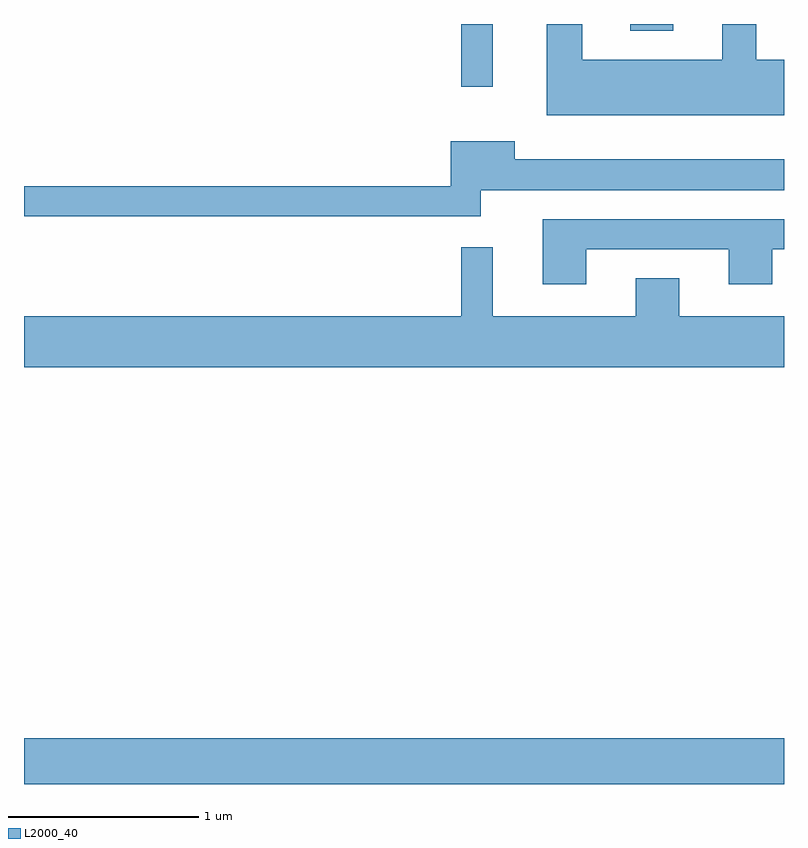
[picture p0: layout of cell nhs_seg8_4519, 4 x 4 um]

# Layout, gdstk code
import gdstk
lib = gdstk.Library(unit=1e-6, precision=1e-09)
def R(c, l, rs):  # rectangles x0, y0, x1, y1
    for r in rs: c.add(gdstk.rectangle(r[:2], r[2:], *l))
def P(c, l, *ps):  # polygons
    for p in ps: c.add(gdstk.Polygon(p, *l))
L2000_40 = (2000, 40)

nhs_seg8_4519 = lib.new_cell('nhs_seg8_4519')
R(nhs_seg8_4519, L2000_40, [(319.611,1936.342,323.611,1936.584), (321.911,1940.013,322.079,1940.342), (322.801,1940.306,323.029,1940.342)])
P(nhs_seg8_4519, L2000_40, [(323.611,1940.154),(323.464,1940.154),(323.464,1940.342),(323.286,1940.342),(323.286,1940.154),(322.549,1940.154),(322.549,1940.342),(322.361,1940.342),(322.361,1939.861),(323.611,1939.861)],
  [(322.014,1939.466),(323.611,1939.466),(323.611,1939.629),(322.194,1939.629),(322.194,1939.724),(321.856,1939.724),(321.856,1939.489),(319.611,1939.489),(319.611,1939.331),(322.014,1939.331)],
  [(322.569,1939.156),(323.321,1939.156),(323.321,1938.971),(323.549,1938.971),(323.549,1939.156),(323.611,1939.156),(323.611,1939.314),(322.341,1939.314),(322.341,1938.971),(322.569,1938.971)],
  [(323.611,1938.804),(323.059,1938.804),(323.059,1939.004),(322.831,1939.004),(322.831,1938.804),(322.079,1938.804),(322.079,1939.168),(321.911,1939.168),(321.911,1938.804),(319.611,1938.804),(319.611,1938.536),(323.611,1938.536)])

lib.write_gds('nhs_seg8_4519.gds')
